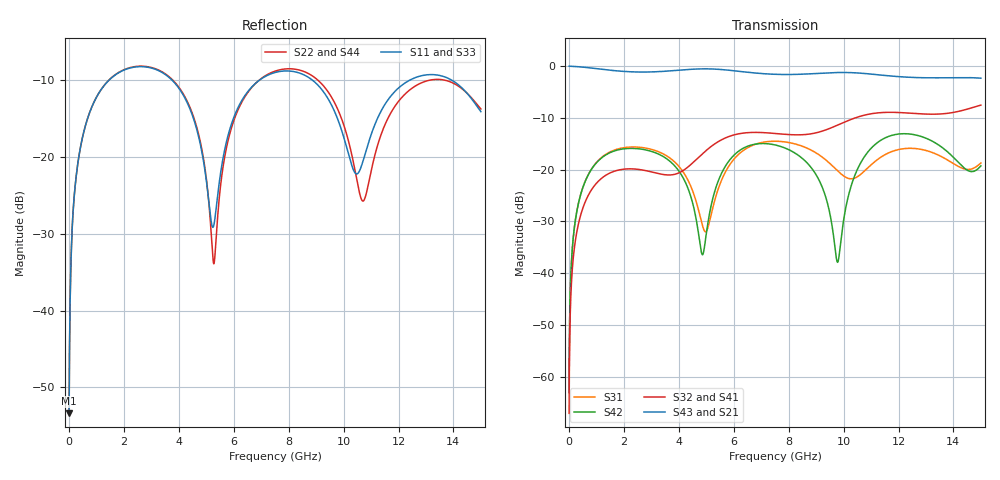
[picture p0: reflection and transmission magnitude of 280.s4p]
! Created with skrf 1.8.0 (http://scikit-rf.org).
# GHz S RI R 50.0
!freq ReS11 ImS11 ReS12 ImS12 ReS13 ImS13
! ReS14 ImS14
! ReS21 ImS21 ReS22 ImS22 ReS23 ImS23
! ReS24 ImS24
! ReS31 ImS31 ReS32 ImS32 ReS33 ImS33
! ReS34 ImS34
! ReS41 ImS41 ReS42 ImS42 ReS43 ImS43
! ReS44 ImS44
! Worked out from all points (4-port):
!   2499 points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, 5 MHz to 15 GHz, reference 50 ohm
!   strongest paths, dB at 5 MHz, 3.476 GHz, 7.19 GHz, 11.1 GHz, 15 GHz:
!     S43: 0.0, -1.0, -1.5, -1.6, -2.3
!     S21: 0.0, -1.0, -1.5, -1.6, -2.3
!     S32: -67.1, -21.0, -12.9, -9.1, -7.5
!     S41: -67.1, -21.0, -12.9, -9.1, -7.5
!     S42: -63.0, -17.6, -15.0, -15.4, -19.3
!     S31: -63.0, -17.1, -14.6, -18.6, -18.7
!   lowest |S11| = -53.4 dB at 5 MHz (marker M1), VSWR 1.00, Z = 50.2 + j0.13 ohm
!   |S11| at or under -10 dB: start of sweep to 1.448 GHz; 3.763 GHz to 6.922 GHz (3.159 GHz wide, 59.1 % of centre); 8.879 GHz to 12.39 GHz (3.512 GHz wide, 33 % of centre) (the widest 3 of 4)
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0.005  0.0017 0.00129  0.9983 -0.00332  8.67e-05 0.000699  -8.39e-05 -0.000435
       0.9983 -0.00332  0.0017 0.00129  -8.4e-05 -0.000435  8.65e-05 0.000699
       8.67e-05 0.000699  -8.4e-05 -0.000435  0.0017 0.00129  0.9983 -0.00332
       -8.39e-05 -0.000435  8.65e-05 0.000699  0.9983 -0.00332  0.0017 0.00129
1.519383  0.2734 0.1759  0.5378 -0.7355  0.1379 0.0571  -0.0933 -0.00419
          0.5378 -0.7355  0.276 0.1742  -0.0934 -0.00405  0.1303 0.0677
          0.1379 0.0571  -0.0934 -0.00405  0.2734 0.1759  0.5378 -0.7355
          -0.0933 -0.00419  0.1303 0.0677  0.5378 -0.7355  0.2761 0.1741
5.277199  0.0353 0.00774  -0.9346 -0.0575  -0.0115 0.0457  -0.00697 0.1748
          -0.9346 -0.0575  0.0202 -0.000208  -0.00463 0.175  0.0241 0.0526
          -0.0115 0.0457  -0.00463 0.175  0.0354 0.00584  -0.9346 -0.0578
          -0.00697 0.1748  0.0241 0.0526  -0.9346 -0.0578  0.0205 -0.0019
8.134639  0.3615 -0.0268  -0.0154 0.8292  0.1373 -0.116  0.2081 -0.0569
          -0.0154 0.8292  0.3748 -0.0315  0.2082 -0.062  0.1393 -0.0543
          0.1373 -0.116  0.2082 -0.062  0.3587 -0.0254  -0.0142 0.83
          0.2081 -0.0569  0.1393 -0.0543  -0.0142 0.83  0.3736 -0.0335
9.779075  0.1342 -0.1171  0.6912 0.522  -0.07 -0.068  0.1582 -0.2176
          0.6912 0.522  0.1341 -0.1572  0.1519 -0.222  0.0125 0.00238
          -0.07 -0.068  0.1519 -0.222  0.1333 -0.1142  0.6933 0.52
          0.1582 -0.2176  0.0125 0.00238  0.6933 0.52  0.1315 -0.1558
10.91705  0.1025 0.0729  0.8401 -0.0492  -0.00927 0.1057  -0.0332 -0.3412
          0.8401 -0.0492  0.0603 0.0326  -0.0421 -0.3404  0.097 0.1166
          -0.00927 0.1057  -0.0421 -0.3404  0.1022 0.075  0.8396 -0.0528
          -0.0332 -0.3412  0.097 0.1166  0.8396 -0.0528  0.0626 0.0366
15  0.182 -0.0776  -0.5618 -0.5182  -0.1142 0.0202  -0.2998 0.2973
    -0.5618 -0.5182  0.1944 -0.0678  -0.2854 0.3082  -0.1066 0.0214
    -0.1142 0.0202  -0.2854 0.3082  0.1908 -0.0719  -0.5661 -0.5133
    -0.2998 0.2973  -0.1066 0.0214  -0.5661 -0.5133  0.1838 -0.0741
